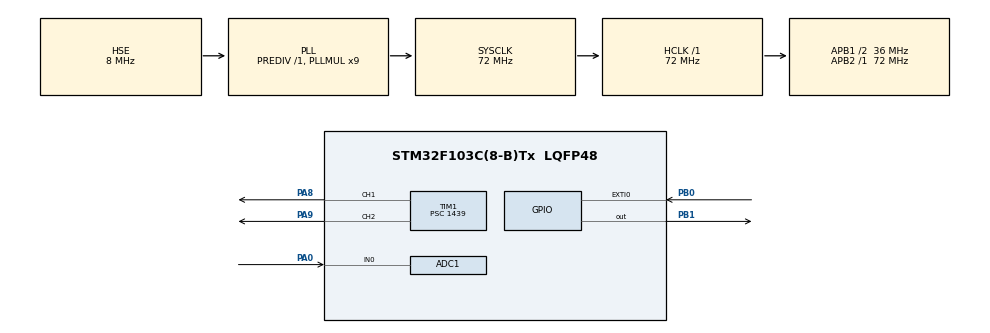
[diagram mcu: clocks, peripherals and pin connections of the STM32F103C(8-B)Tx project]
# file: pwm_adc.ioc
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ADC1.Channel-0\#ChannelRegularConversion=ADC_CHANNEL_0
ADC1.ContinuousConvMode=ENABLE
ADC1.NbrOfConversion=1
ADC1.NbrOfConversionFlag=1
ADC1.Rank-0\#ChannelRegularConversion=1
ADC1.SamplingTime-0\#ChannelRegularConversion=ADC_SAMPLETIME_13CYCLES_5
ADC1.master=1
Mcu.Family=STM32F1
Mcu.Name=STM32F103C(8-B)Tx
Mcu.Package=LQFP48
NVIC.ADC1_2_IRQn=true\:3\:0\:true\:false\:true\:true\:true\:true
NVIC.EXTI0_IRQn=true\:2\:0\:true\:false\:true\:true\:true\:true
NVIC.PriorityGroup=NVIC_PRIORITYGROUP_4
NVIC.TIM1_UP_IRQn=true\:1\:0\:true\:false\:true\:true\:true\:true
PA0-WKUP.Signal=ADCx_IN0
PA13.Mode=Serial_Wire
PA13.Signal=SYS_JTMS-SWDIO
PA14.Mode=Serial_Wire
PA14.Signal=SYS_JTCK-SWCLK
PA8.Signal=S_TIM1_CH1
PA9.Signal=S_TIM1_CH2
PB0.GPIO_ModeDefaultEXTI=GPIO_MODE_IT_FALLING
PB0.GPIO_PuPd=GPIO_PULLUP
PB0.Signal=GPXTI0
PB1.Signal=GPIO_Output
PD0-OSC_IN.Mode=HSE-External-Oscillator
PD0-OSC_IN.Signal=RCC_OSC_IN
PD1-OSC_OUT.Mode=HSE-External-Oscillator
PD1-OSC_OUT.Signal=RCC_OSC_OUT
ProjectManager.HeapSize=0x200
ProjectManager.StackSize=0x400
ProjectManager.TargetToolchain=MDK-ARM V5.32
RCC.ADCPresc=RCC_ADCPCLK2_DIV6
RCC.AHBFreq_Value=72000000
RCC.APB1CLKDivider=RCC_HCLK_DIV2
RCC.APB1Freq_Value=36000000
RCC.APB1TimFreq_Value=72000000
RCC.APB2Freq_Value=72000000
RCC.APB2TimFreq_Value=72000000
RCC.HCLKFreq_Value=72000000
RCC.PLLMUL=RCC_PLL_MUL9
RCC.PLLSourceVirtual=RCC_PLLSOURCE_HSE
RCC.SYSCLKFreq_VALUE=72000000
RCC.SYSCLKSource=RCC_SYSCLKSOURCE_PLLCLK
RCC.USBFreq_Value=72000000
SH.ADCx_IN0.0=ADC1_IN0,IN0
SH.S_TIM1_CH1.0=TIM1_CH1,PWM Generation1 CH1
SH.S_TIM1_CH2.0=TIM1_CH2,PWM Generation2 CH2
TIM1.AutoReloadPreload=TIM_AUTORELOAD_PRELOAD_ENABLE
TIM1.Channel-PWM\ Generation1\ CH1=TIM_CHANNEL_1
TIM1.Channel-PWM\ Generation2\ CH2=TIM_CHANNEL_2
TIM1.Period=999
TIM1.Prescaler=1439
VP_TIM1_VS_ClockSourceINT.Mode=Internal
board=custom

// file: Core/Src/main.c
/* USER CODE BEGIN Header */
/**
  ******************************************************************************
  * @file           : main.c
  * @brief          : Main program body
  ******************************************************************************
  * @attention
  *
  * Copyright (c) 2026 STMicroelectronics.
  * All rights reserved.
  *
  * This software is licensed under terms that can be found in the LICENSE file
  * in the root directory of this software component.
  * If no LICENSE file comes with this software, it is provided AS-IS.
  *
  ******************************************************************************
  */
/* USER CODE END Header */
#include "main.h"
#include "adc.h"
#include "tim.h"
#include "gpio.h"

/* USER CODE BEGIN Includes */
#include <math.h>
#include <stdlib.h>
/* USER CODE END Includes */

/* USER CODE BEGIN PTD */
typedef enum
{
//空闲       exti下降沿触发的中断		       消抖 		长短按判定
	KEY_IDLE,    KEY_FALING_EDGE,       KEY_DEBOUNCE,KEY_PRESS
}key_state_t;
typedef enum
{
	close=0,open
}led_blink_state_t;
typedef enum
{
	keep_open=0,keep_close
}led_keep_state_t;
typedef enum
{
	light_level_0=0,light_level_1,light_level_2,light_level_3,breath
}led_breath_t;
/* USER CODE END PTD */

/* USER CODE BEGIN PD */
#define KEY_LEVEL_LOW	HAL_GPIO_ReadPin(GPIOB,GPIO_PIN_0)==GPIO_PIN_RESET
#define K_T_RAD (2.0f*3.1415f*20.0f/1000.0f/2.0f)
#define k_DR_V ((3.3f-0.0f)/4095.0f)
#define ARR (999+1)
#define servo_min 25u
#define	servo_max 120u
/* USER CODE END PD */

/* USER CODE BEGIN PM */
uint16_t CCR[4]={250,500,750,1000};
/* USER CODE END PM */

/* USER CODE BEGIN PV */
uint8_t volatile key_state_v,led_blink_state_v,led_keep_state_v,led_breath_state_v;
uint32_t volatile press_cnt,led_blink_cnt,led_breath_cnt;
float vol;
uint32_t dr;
/* USER CODE END PV */

void SystemClock_Config(void);
/* USER CODE BEGIN PFP */
void key_long_cb(void);
void key_short_cb(void);
uint8_t get_ccr(float rad);
void servo_display(void);
/* USER CODE END PFP */

/* USER CODE BEGIN 0 */
void key_long_cb(void)
{
	//翻转led闪烁状态
	if(led_blink_state_v==open)	led_blink_state_v=close;
	else												led_blink_state_v=open;
	//进入/退出呼吸灯
	if(led_breath_state_v==breath)	led_breath_state_v=light_level_0;
	else												led_breath_state_v=breath;
	//释放按钮状态
	key_state_v=KEY_IDLE;
}
void key_short_cb(void)
{
	//强制关闭闪烁
	led_blink_state_v=close;
	//根据上次短按状态切换长亮长灭
	if(led_keep_state_v==keep_close)	led_keep_state_v=keep_open;
	else															led_keep_state_v=keep_close;
	//调光亮度 （进阶任务）
	if(led_breath_state_v!=breath)	led_breath_state_v=(led_breath_state_v+1)%4;
	//释放按钮状态
	key_state_v=KEY_IDLE;
}
/*
舵机角度转换为脉宽，获取的值为ccr
*/
uint8_t get_ccr(float rad)
{
	return (uint8_t)(rad/180.0f*(servo_max-servo_min))+servo_min;
}
/*对应作业task2*/
void servo_display(void)
{
//舵机运动展示，10ms更新一次角度
	for(int i=0;i<=180;i++)
	{
		__HAL_TIM_SET_COMPARE(&htim1,TIM_CHANNEL_2,get_ccr(i));
		HAL_Delay(10);
	}
	HAL_Delay(500);
	for(int i=180;i>=0;i--)
	{
		__HAL_TIM_SET_COMPARE(&htim1,TIM_CHANNEL_2,get_ccr(i));
		HAL_Delay(10);
	}
}
/* USER CODE END 0 */

int main(void)
{

  /* MCU Configuration--------------------------------------------------------*/

  /* Reset of all peripherals, Initializes the Flash interface and the Systick. */
  HAL_Init();

  /* Configure the system clock */
  SystemClock_Config();

  /* Initialize all configured peripherals */
  MX_GPIO_Init();
  MX_ADC1_Init();
  MX_TIM1_Init();
  /* USER CODE BEGIN 2 */
	HAL_TIM_Base_Start_IT(&htim1);
	HAL_TIM_PWM_Start(&htim1,TIM_CHANNEL_1);
	HAL_TIM_PWM_Start(&htim1,TIM_CHANNEL_2);

	//task2_舵机
	servo_display();
	HAL_ADC_Start(&hadc1);
  /* USER CODE END 2 */

  /* Infinite loop */
  /* USER CODE BEGIN WHILE */
  while (1)
  {
		//长亮灭轮询

		if(led_blink_state_v==close)
		{
		if(led_keep_state_v==keep_close)	HAL_GPIO_WritePin(GPIOB,GPIO_PIN_1,GPIO_PIN_RESET);
		if(led_keep_state_v==keep_open)	HAL_GPIO_WritePin(GPIOB,GPIO_PIN_1,GPIO_PIN_SET);
		}
		//轮询扫adc电压
		HAL_ADC_PollForConversion(&hadc1,HAL_MAX_DELAY);
		dr=HAL_ADC_GetValue(&hadc1);
		vol=dr*k_DR_V;
		//电位器控制舵机0->4096映射为servo_max->servo_min
		uint8_t ccr=get_ccr((4096u-dr)/4096.0f*180.0f);
		__HAL_TIM_SET_COMPARE(&htim1,TIM_CHANNEL_2,ccr);
		//轮询扫led2亮度
		if(led_breath_state_v<breath)
		{
			__HAL_TIM_SET_COMPARE(&htim1,TIM_CHANNEL_1,CCR[led_breath_state_v]);
		}
    /* USER CODE END WHILE */

  }
}

void SystemClock_Config(void)
{
  RCC_OscInitTypeDef RCC_OscInitStruct = {0};
  RCC_ClkInitTypeDef RCC_ClkInitStruct = {0};
  RCC_PeriphCLKInitTypeDef PeriphClkInit = {0};

  /** Initializes the RCC Oscillators according to the specified parameters
  * in the RCC_OscInitTypeDef structure.
  */
  RCC_OscInitStruct.OscillatorType = RCC_OSCILLATORTYPE_HSE;
  RCC_OscInitStruct.HSEState = RCC_HSE_ON;
  RCC_OscInitStruct.HSEPredivValue = RCC_HSE_PREDIV_DIV1;
  RCC_OscInitStruct.HSIState = RCC_HSI_ON;
  RCC_OscInitStruct.PLL.PLLState = RCC_PLL_ON;
  RCC_OscInitStruct.PLL.PLLSource = RCC_PLLSOURCE_HSE;
  RCC_OscInitStruct.PLL.PLLMUL = RCC_PLL_MUL9;
  if (HAL_RCC_OscConfig(&RCC_OscInitStruct) != HAL_OK)
  {
    Error_Handler();
  }

  /** Initializes the CPU, AHB and APB buses clocks
  */
  RCC_ClkInitStruct.ClockType = RCC_CLOCKTYPE_HCLK|RCC_CLOCKTYPE_SYSCLK
                              |RCC_CLOCKTYPE_PCLK1|RCC_CLOCKTYPE_PCLK2;
  RCC_ClkInitStruct.SYSCLKSource = RCC_SYSCLKSOURCE_PLLCLK;
  RCC_ClkInitStruct.AHBCLKDivider = RCC_SYSCLK_DIV1;
  RCC_ClkInitStruct.APB1CLKDivider = RCC_HCLK_DIV2;
  RCC_ClkInitStruct.APB2CLKDivider = RCC_HCLK_DIV1;

  if (HAL_RCC_ClockConfig(&RCC_ClkInitStruct, FLASH_LATENCY_2) != HAL_OK)
  {
    Error_Handler();
  }
  PeriphClkInit.PeriphClockSelection = RCC_PERIPHCLK_ADC;
  PeriphClkInit.AdcClockSelection = RCC_ADCPCLK2_DIV6;
  if (HAL_RCCEx_PeriphCLKConfig(&PeriphClkInit) != HAL_OK)
  {
    Error_Handler();
  }
}

/* USER CODE BEGIN 4 */
/*
按钮，只置isr
*/
void HAL_GPIO_EXTI_Callback(uint16_t GPIO_Pin)
{
		if(GPIO_Pin==GPIO_PIN_0)
		{
			if(key_state_v==KEY_IDLE)	key_state_v=KEY_FALING_EDGE;
		}

}
/*
定时器中断，20ms周期，负责，按钮消抖,led闪烁,呼吸灯
*/
void HAL_TIM_PeriodElapsedCallback(TIM_HandleTypeDef *htim)
{
	if(htim->Instance!=TIM1)	return;
	//1.按钮处理,状态机控制
	switch(key_state_v)
	{
		case KEY_IDLE:
			//不处理
			break;
		case KEY_FALING_EDGE:
			//20ms后进消抖
			key_state_v=KEY_DEBOUNCE;
			break;
		case KEY_DEBOUNCE:
			if(KEY_LEVEL_LOW)
			{
				//确认被按下，开窗判断长短
				key_state_v=KEY_PRESS;
			}
			else
			{
				//抖动，恢复空闲
				key_state_v=KEY_IDLE;
			}
			break;
		case KEY_PRESS:
			//低计数，高判断,执行对应回调函数
			if(KEY_LEVEL_LOW)
			{
				press_cnt++;
			}
			else
			{
				if(press_cnt>=50)	key_long_cb();
				else 							key_short_cb();
				press_cnt=0;
			}
			break;
		}
		//2,led1闪烁，50hz5分频得到闪烁频率
			if(led_blink_state_v==open)
			{
				led_blink_cnt++;
			if(led_blink_cnt>=5)
			{
				HAL_GPIO_TogglePin(GPIOB,GPIO_PIN_1);
				led_blink_cnt=0;
			}
			}
		//3,led2呼吸灯控制,正弦波
			if(led_breath_state_v==breath)
			{
				__HAL_TIM_SET_COMPARE(&htim1,TIM_CHANNEL_1,((sinf((float)(led_breath_cnt)*K_T_RAD)+1.0f)/2.0f*ARR));
			led_breath_cnt=(led_breath_cnt+1)%100;

			}

}
/* USER CODE END 4 */

void Error_Handler(void)
{
  __disable_irq();
  while (1)
  {
  }
}
